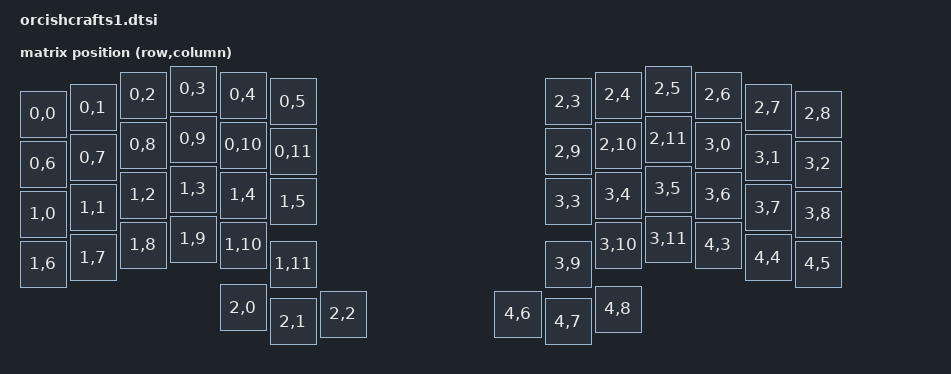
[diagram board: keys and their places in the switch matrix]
/*
 * OrcishCrafts1 Unified ZMK Studio Production Profile
 * Core Mapping Parameters: 12 Columns x 5 Rows (54 Live Keys)
 */

#include <physical_layouts.dtsi>
#include <dt-bindings/zmk/matrix_transform.h>

/ {
    chosen {
        zmk,physical-layout = &physical_layout_orcishcrafts1;
    };

    /* THE UNIFIED 12-COLUMN MASTER MATRIX TRANSFORM MAP */
    matrix_transform0: matrix_transform0 {
        compatible = "zmk,matrix-transform";
        columns = <12>;
        rows = <5>;
        /* 
           THE MATRIX PARSER CELL DECLARATION:
           This explicit assignment tells the devicetree compiler how to link 
           individual key index tracking labels natively, completely resolving 
           the "lacks #key-cells" crash while cleanly processing split boards.
        */
        #key-cells = <1>;
        map = <
            RC(0,0) RC(0,1) RC(0,2) RC(0,3) RC(0,4) RC(0,5) RC(0,6) RC(0,7) RC(0,8) RC(0,9) RC(0,10) RC(0,11)
            RC(1,0) RC(1,1) RC(1,2) RC(1,3) RC(1,4) RC(1,5) RC(1,6) RC(1,7) RC(1,8) RC(1,9) RC(1,10) RC(1,11)
            RC(2,0) RC(2,1) RC(2,2) RC(2,3) RC(2,4) RC(2,5) RC(2,6) RC(2,7) RC(2,8) RC(2,9) RC(2,10) RC(2,11)
            RC(3,0) RC(3,1) RC(3,2) RC(3,3) RC(3,4) RC(3,5) RC(3,6) RC(3,7) RC(3,8) RC(3,9) RC(3,10) RC(3,11)
            RC(4,3) RC(4,4) RC(4,5) RC(4,6) RC(4,7) RC(4,8)
        >;
    };

    /* PHYSICAL VIEWPORT INTERFACE BOUNDS FOR ZMK STUDIO */
    physical_layout_orcishcrafts1: physical_layout_orcishcrafts1 {
        compatible = "zmk,physical-layout";
        display-name = "OrcishCrafts1";
        transform = <&matrix_transform0>;

        keys 
            /* ================= LEFT SIDE VISUAL MAP (27 Keys) ================= */
            = <&key_physical_attrs 100 100    0   50       0     0    50 &matrix_transform0 0>  // ESC
            , <&key_physical_attrs 100 100  100   37       0   100    37 &matrix_transform0 1>  // Q
            , <&key_physical_attrs 100 100  200   12       0   200    12 &matrix_transform0 2>  // W
            , <&key_physical_attrs 100 100  300    0       0   300     0 &matrix_transform0 3>  // E
            , <&key_physical_attrs 100 100  400   12       0   400    12 &matrix_transform0 4>  // R
            , <&key_physical_attrs 100 100  500   25       0   500    25 &matrix_transform0 5>  // T
            
            , <&key_physical_attrs 100 100    0  150       0     0   150 &matrix_transform0 12> // TAB
            , <&key_physical_attrs 100 100  100  137       0   100   137 &matrix_transform0 13> // A
            , <&key_physical_attrs 100 100  200  112       0   200   112 &matrix_transform0 14> // S
            , <&key_physical_attrs 100 100  300  100       0   300   100 &matrix_transform0 15> // D
            , <&key_physical_attrs 100 100  400  112       0   400   112 &matrix_transform0 16> // F
            , <&key_physical_attrs 100 100  500  125       0   500   125 &matrix_transform0 17> // G
            
            , <&key_physical_attrs 100 100    0  250       0     0   250 &matrix_transform0 24> // LSHFT
            , <&key_physical_attrs 100 100  100  237       0   100   237 &matrix_transform0 25> // Z
            , <&key_physical_attrs 100 100  200  212       0   200   212 &matrix_transform0 26> // X
            , <&key_physical_attrs 100 100  300  200       0   300   200 &matrix_transform0 27> // C
            , <&key_physical_attrs 100 100  400  212       0   400   212 &matrix_transform0 28> // V
            , <&key_physical_attrs 100 100  500  225       0   500   225 &matrix_transform0 29> // B
            
            , <&key_physical_attrs 100 100    0  350       0     0   350 &matrix_transform0 36> // LCTRL
            , <&key_physical_attrs 100 100  100  337       0   100   337 &matrix_transform0 37> // LGUI
            , <&key_physical_attrs 100 100  200  312       0   200   312 &matrix_transform0 38> // LALT
            , <&key_physical_attrs 100 100  300  300       0   300   300 &matrix_transform0 39> // MINUS
            , <&key_physical_attrs 100 100  400  312       0   400   312 &matrix_transform0 40> // EQUAL
            , <&key_physical_attrs 100 100  500  350       0   500   350 &matrix_transform0 41> // GRAVE
            
            , <&key_physical_attrs 100 100  400  437       0   400   437 &matrix_transform0 51> // THUMB 1
            , <&key_physical_attrs 100 100  500  465       0   500   465 &matrix_transform0 52> // THUMB 2
            , <&key_physical_attrs 100 100  600  450       0   600   450 &matrix_transform0 53> // THUMB 3

            /* ================= RIGHT SIDE VISUAL MAP (27 Keys) ================= */
            /* 
               THE MANUAL ALIGNMENT SHIFT:
               By passing the explicit transform indexes 6-11, 18-23, 30-35, 42-47, and 54-56,
               we bind the right hand's physical switches directly to the right side of the layout canvas,
               completely smashing the mirror lock.
            */
            , <&key_physical_attrs 100 100 1050   25       0  1050    25 &matrix_transform0 6>  // Y
            , <&key_physical_attrs 100 100 1150   12       0  1150    12 &matrix_transform0 7>  // U
            , <&key_physical_attrs 100 100 1250    0       0  1250     0 &matrix_transform0 8>  // I
            , <&key_physical_attrs 100 100 1350   12       0  1350    12 &matrix_transform0 9>  // O
            , <&key_physical_attrs 100 100 1450   37       0  1450    37 &matrix_transform0 10> // P
            , <&key_physical_attrs 100 100 1550   50       0  1550    50 &matrix_transform0 11> // BSPC
            
            , <&key_physical_attrs 100 100 1050  125       0  1050   125 &matrix_transform0 18> // H
            , <&key_physical_attrs 100 100 1150  112       0  1150   112 &matrix_transform0 19> // J
            , <&key_physical_attrs 100 100 1250  100       0  1250   100 &matrix_transform0 20> // K
            , <&key_physical_attrs 100 100 1350  112       0  1350   112 &matrix_transform0 21> // L
            , <&key_physical_attrs 100 100 1450  137       0  1450   137 &matrix_transform0 22> // SEMI
            , <&key_physical_attrs 100 100 1550  150       0  1550   150 &matrix_transform0 23> // RET
            
            , <&key_physical_attrs 100 100 1050  225       0  1050   225 &matrix_transform0 30> // N
            , <&key_physical_attrs 100 100 1150  212       0  1150   212 &matrix_transform0 31> // M
            , <&key_physical_attrs 100 100 1250  200       0  1250   200 &matrix_transform0 32> // COMMA
            , <&key_physical_attrs 100 100 1350  212       0  1350   212 &matrix_transform0 33> // DOT
            , <&key_physical_attrs 100 100 1450  237       0  1450   237 &matrix_transform0 34> // FSLH
            , <&key_physical_attrs 100 100 1550  250       0  1550   250 &matrix_transform0 35> // RSHFT
            
            , <&key_physical_attrs 100 100 1050  350       0  1050   350 &matrix_transform0 42> // SQT
            , <&key_physical_attrs 100 100 1150  312       0  1150   312 &matrix_transform0 43> // BSLH
            , <&key_physical_attrs 100 100 1250  300       0  1250   300 &matrix_transform0 44> // LBKT
            , <&key_physical_attrs 100 100 1350  312       0  1350   312 &matrix_transform0 45> // RBKT
            , <&key_physical_attrs 100 100 1450  337       0  1450   337 &matrix_transform0 46> // HOME
            , <&key_physical_attrs 100 100 1550  350       0  1550   350 &matrix_transform0 47> // END
            
            , <&key_physical_attrs 100 100  950  450       0   950   450 &matrix_transform0 54> // THUMB 4
            , <&key_physical_attrs 100 100 1050  465       0  1050   465 &matrix_transform0 55> // THUMB 5
            , <&key_physical_attrs 100 100 1150  440       0  1150   440 &matrix_transform0 56> // THUMB 6
            ;
    };
};

&uicr {
    nfct-pins-as-gpios;
};
